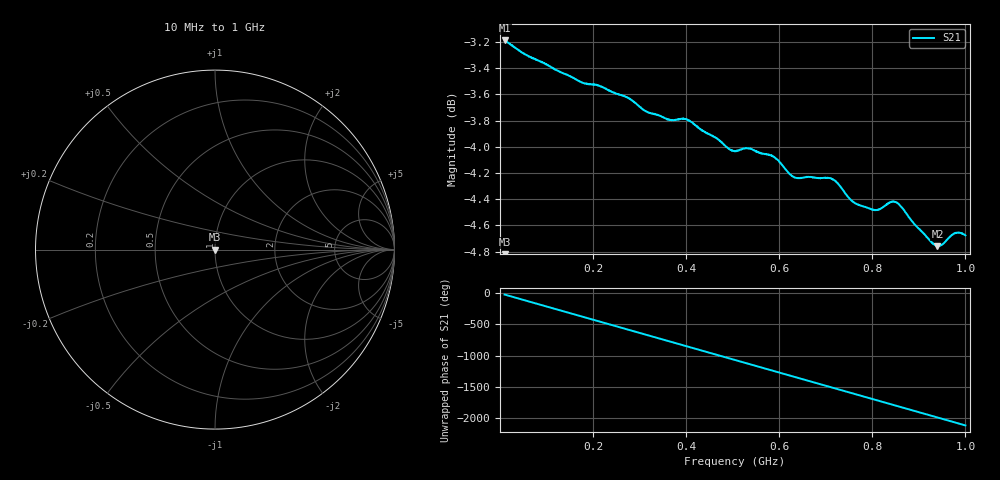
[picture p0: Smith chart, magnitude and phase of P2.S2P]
!Keysight Technologies,E5061B,SG49100003,B.05.06
!Date: Mon Jan 06 14:15:15 2020
!Data & Calibration Information:
!Freq	S11:NONE(--)	S21:RESPT(ON)	S12:NONE(--)	S22:NONE(--)
# Hz S dB R 50
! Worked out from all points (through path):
!   1601 points, 10 MHz to 1 GHz, reference 50 ohm
!   highest |S21| = -3.19 dB at 10 MHz (marker M1); lowest = -4.8 dB at 940 MHz (marker M2)
!   group delay of S21, straight-line fit = 5.87 ns
!   lowest |S11| = - dB at 10 MHz (marker M3), VSWR 1.00, Z = 50 + j0 ohm
!   |S11| at or under -10 dB: start of sweep to end of sweep
!   S12 and S22 are empty: the file has one direction only
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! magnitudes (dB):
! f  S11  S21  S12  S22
! 10 MHz  -  -3.2  -  -
! 175.2 MHz  -  -3.5  -  -
! 271.7 MHz  -  -3.6  -  -
! 313.2 MHz  -  -3.7  -  -
! 340.4 MHz  -  -3.8  -  -
! 366.4 MHz  -  -3.8  -  -
! 402.9 MHz  -  -3.8  -  -
! 505 MHz  -  -4.0  -  -
! 533.5 MHz  -  -4.0  -  -
! 579.9 MHz  -  -4.1  -  -
! 631.2 MHz  -  -4.2  -  -
! 670.2 MHz  -  -4.2  -  -
! 714.8 MHz  -  -4.2  -  -
! 758.7 MHz  -  -4.4  -  -
! 795.8 MHz  -  -4.5  -  -
! 813.1 MHz  -  -4.5  -  -
! 835.4 MHz  -  -4.4  -  -
! 855.8 MHz  -  -4.4  -  -
! 893.6 MHz  -  -4.6  -  -
! 940 MHz  -  -4.8  -  -
! 977.7 MHz  -  -4.7  -  -
! 1 GHz  -  -4.7  -  -
